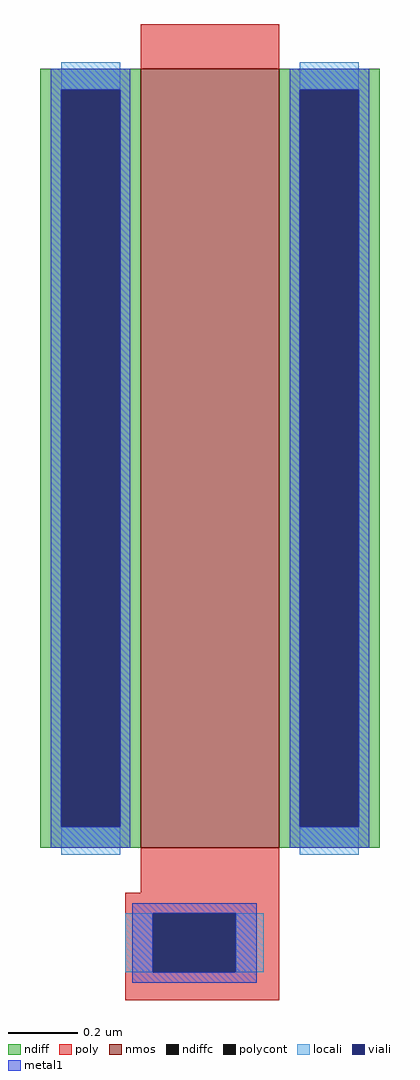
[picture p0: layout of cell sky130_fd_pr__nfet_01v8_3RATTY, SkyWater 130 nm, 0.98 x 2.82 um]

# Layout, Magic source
magic
tech sky130A
magscale 1 2
<< nmos >>
rect -40 -194 40 256
<< ndiff >>
rect -98 244 -40 256
rect -98 -182 -86 244
rect -52 -182 -40 244
rect -98 -194 -40 -182
rect 40 244 98 256
rect 40 -182 52 244
rect 86 -182 98 244
rect 40 -194 98 -182
<< ndiffc >>
rect -86 -182 -52 244
rect 52 -182 86 244
<< poly >>
rect -40 256 40 282
rect -40 -220 40 -194
rect -49 -232 40 -220
rect -49 -266 -33 -232
rect 15 -266 40 -232
rect -49 -282 40 -266
<< polycont >>
rect -33 -266 15 -232
<< locali >>
rect -86 244 -52 260
rect -86 -198 -52 -182
rect 52 244 86 260
rect 52 -198 86 -182
rect -49 -266 -33 -232
rect 15 -266 31 -232
<< viali >>
rect -86 -182 -52 244
rect 52 -182 86 244
rect -33 -266 15 -232
<< metal1 >>
rect -92 244 -46 256
rect -92 -182 -86 244
rect -52 -182 -46 244
rect -92 -194 -46 -182
rect 46 244 92 256
rect 46 -182 52 244
rect 86 -182 92 244
rect 46 -194 92 -182
rect -45 -232 27 -226
rect -45 -266 -33 -232
rect 15 -266 27 -232
rect -45 -272 27 -266
<< properties >>
string gencell sky130_fd_pr__nfet_01v8
string library sky130
string parameters w 2.25 l 0.4 m 1 nf 1 diffcov 100 polycov 100 guard 0 glc 1 grc 1 gtc 1 gbc 1 tbcov 100 rlcov 100 topc 0 botc 1 poverlap 0 doverlap 0 lmin 0.15 wmin 0.42 class mosfet compatible {sky130_fd_pr__nfet_01v8 sky130_fd_pr__nfet_01v8_lvt  sky130_fd_bs_flash__special_sonosfet_star  sky130_fd_pr__nfet_g5v0d10v5 sky130_fd_pr__nfet_05v0_nvt  sky130_fd_pr__nfet_03v3_nvt} full_metal 1 viasrc 100 viadrn 100 viagate 100 viagb 0 viagr 0 viagl 0 viagt 0
<< end >>
